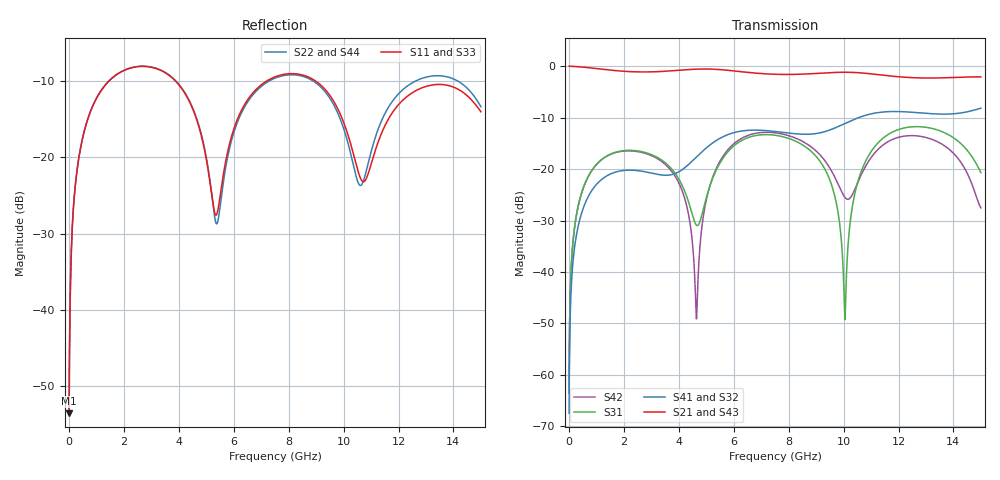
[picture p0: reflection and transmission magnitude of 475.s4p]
! Created with skrf 1.8.0 (http://scikit-rf.org).
# GHz S RI R 50.0
!freq ReS11 ImS11 ReS12 ImS12 ReS13 ImS13
! ReS14 ImS14
! ReS21 ImS21 ReS22 ImS22 ReS23 ImS23
! ReS24 ImS24
! ReS31 ImS31 ReS32 ImS32 ReS33 ImS33
! ReS34 ImS34
! ReS41 ImS41 ReS42 ImS42 ReS43 ImS43
! ReS44 ImS44
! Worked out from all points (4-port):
!   2499 points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, 5 MHz to 15 GHz, reference 50 ohm
!   strongest paths, dB at 5 MHz, 3.476 GHz, 7.19 GHz, 11.1 GHz, 15 GHz:
!     S21: 0.0, -1.0, -1.5, -1.6, -2.1
!     S43: 0.0, -1.0, -1.5, -1.6, -2.1
!     S41: -67.5, -21.2, -12.5, -9.2, -8.2
!     S32: -67.5, -21.3, -12.6, -9.2, -8.2
!     S31: -63.5, -18.6, -13.3, -15.9, -20.7
!     S42: -63.5, -19.0, -12.9, -17.1, -27.5
!   lowest |S11| = -53.5 dB at 5 MHz (marker M1), VSWR 1.00, Z = 50.2 + j0.128 ohm
!   |S11| at or under -10 dB: start of sweep to 1.454 GHz; 3.881 GHz to 7.196 GHz (3.315 GHz wide, 59.9 % of centre); 8.984 GHz to end of sweep
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0.005  0.00168 0.00127  0.9983 -0.00326  8.43e-05 0.000663  -8.18e-05 -0.000416
       0.9983 -0.00326  0.00168 0.00127  -8.18e-05 -0.000416  8.42e-05 0.000663
       8.43e-05 0.000663  -8.18e-05 -0.000416  0.00168 0.00127  0.9983 -0.00326
       -8.18e-05 -0.000416  8.42e-05 0.000663  0.9983 -0.00326  0.00168 0.00127
1.619545  0.2898 0.1708  0.5046 -0.7547  0.134 0.0515  -0.092 0.000972
          0.5046 -0.7547  0.291 0.1699  -0.0918 0.000719  0.1309 0.0562
          0.134 0.0515  -0.0918 0.000719  0.29 0.1707  0.5047 -0.7547
          -0.092 0.000972  0.1309 0.0562  0.5047 -0.7547  0.2909 0.17
4.645686  0.1017 -0.1458  -0.8178 -0.4508  -0.0251 -0.0134  -0.0586 0.1174
          -0.8178 -0.4508  0.0984 -0.1517  -0.061 0.1161  -0.00347 -0.000664
          -0.0251 -0.0134  -0.061 0.1161  0.1014 -0.1456  -0.8179 -0.4508
          -0.0586 0.1174  -0.00347 -0.000664  -0.8179 -0.4508  0.0983 -0.1513
8.334723  0.3481 -0.0495  0.0109 0.8323  0.1691 -0.0672  0.2039 -0.0803
          0.0109 0.8323  0.3421 -0.0467  0.2035 -0.072  0.1693 -0.0976
          0.1691 -0.0672  0.2035 -0.072  0.3502 -0.0534  0.0106 0.8321
          0.2039 -0.0803  0.1693 -0.0976  0.0106 0.8321  0.3413 -0.0422
10.04794  0.1097 -0.1181  0.7336 0.4705  -0.00336 -0.000777  0.1367 -0.241
          0.7336 0.4705  0.101 -0.105  0.1479 -0.2341  -0.0454 -0.0275
          -0.00336 -0.000777  0.1479 -0.2341  0.1066 -0.1218  0.7329 0.4713
          0.1367 -0.241  -0.0454 -0.0275  0.7329 0.4713  0.1065 -0.1031
11.39225  0.1202 0.0818  0.7944 -0.1961  0.1396 0.1362  -0.1287 -0.3331
          0.7944 -0.1961  0.1372 0.1095  -0.1143 -0.3375  0.0741 0.1502
          0.1396 0.1362  -0.1143 -0.3375  0.1188 0.0827  0.7951 -0.1948
          -0.1287 -0.3331  0.0741 0.1502  0.7951 -0.1948  0.1382 0.104
15  0.1833 -0.0776  -0.4846 -0.6183  -0.0379 -0.0843  -0.2899 0.261
    -0.4846 -0.6183  0.1737 -0.1262  -0.3062 0.2409  -0.0283 -0.031
    -0.0379 -0.0843  -0.3062 0.2409  0.1764 -0.0817  -0.4848 -0.6194
    -0.2899 0.261  -0.0283 -0.031  -0.4848 -0.6194  0.1748 -0.1195
